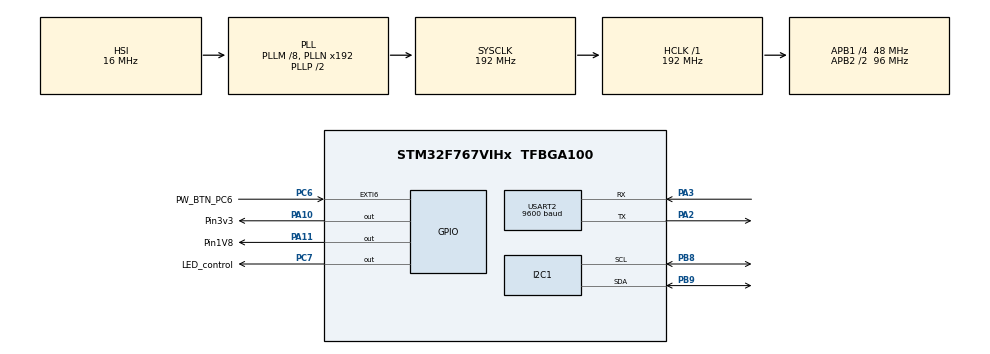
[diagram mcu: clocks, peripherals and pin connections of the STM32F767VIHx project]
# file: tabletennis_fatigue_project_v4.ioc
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CORTEX_M7.CPU_DCache=Enabled
CORTEX_M7.CPU_ICache=Enabled
CORTEX_M7.default_mode_Activation=1
I2C1.Timing=0x20303E5D
Mcu.Family=STM32F7
Mcu.Name=STM32F767VIHx
Mcu.Package=TFBGA100
NVIC.EXTI9_5_IRQn=true\:5\:0\:false\:false\:true\:true\:true\:true
NVIC.PriorityGroup=NVIC_PRIORITYGROUP_4
PA10.GPIO_Label=Pin3v3
PA10.Signal=GPIO_Output
PA11.GPIO_Label=Pin1V8
PA11.Signal=GPIO_Output
PA13.Mode=Serial_Wire
PA13.Signal=SYS_JTMS-SWDIO
PA14.Mode=Serial_Wire
PA14.Signal=SYS_JTCK-SWCLK
PA2.Mode=Asynchronous
PA2.Signal=USART2_TX
PA3.Mode=Asynchronous
PA3.Signal=USART2_RX
PB8.Mode=I2C
PB8.Signal=I2C1_SCL
PB9.Mode=I2C
PB9.Signal=I2C1_SDA
PC6.GPIO_Label=PW_BTN_PC6
PC6.GPIO_PuPd=GPIO_NOPULL
PC6.Signal=GPXTI6
PC7.GPIO_Label=LED_control
PC7.Signal=GPIO_Output
PH0/OSC_IN.Mode=HSE-External-Clock-Source
PH0/OSC_IN.Signal=RCC_OSC_IN
PH1/OSC_OUT.Mode=HSE-External-Clock-Source
PH1/OSC_OUT.Signal=RCC_OSC_OUT
ProjectManager.HeapSize=0x200
ProjectManager.StackSize=0x400
ProjectManager.TargetToolchain=MDK-ARM V5.32
RCC.AHBFreq_Value=192000000
RCC.APB1CLKDivider=RCC_HCLK_DIV4
RCC.APB1Freq_Value=48000000
RCC.APB1TimFreq_Value=96000000
RCC.APB2CLKDivider=RCC_HCLK_DIV2
RCC.APB2Freq_Value=96000000
RCC.APB2TimFreq_Value=192000000
RCC.CortexFreq_Value=192000000
RCC.HCLKFreq_Value=192000000
RCC.HSE_VALUE=8000000
RCC.HSI_VALUE=16000000
RCC.LSE_VALUE=32768
RCC.PLLM=8
RCC.PLLMUL=RCC_PLL_MUL9
RCC.PLLP=2
RCC.PLLQ=9
RCC.PRESCALERUSB=RCC_USBCLKSOURCE_PLL_DIV1_5
RCC.SYSCLKFreq_VALUE=192000000
RCC.SYSCLKSource=RCC_SYSCLKSOURCE_PLLCLK
RCC.SYSCLKSourceVirtual=RCC_SYSCLKSOURCE_PLLCLK
RCC.USBFreq_Value=42666666.666666664
RCC.VCOOutputFreq_Value=384000000
STMicroelectronics.X-CUBE-AI.10.2.0.ActivationBufferSizeList=157608
STMicroelectronics.X-CUBE-AI.10.2.0.ActivationBuffers=pool0
STMicroelectronics.X-CUBE-AI.10.2.0.ActivationNames=pool0
STMicroelectronics.X-CUBE-AI.10.2.0.ActivationSizes=AI_NETWORK_DATA_ACTIVATION_1_SIZE
STMicroelectronics.X-CUBE-AI.10.2.0.ApplicationCcDeviceJjApplication=ApplicationTemplate
STMicroelectronics.X-CUBE-AI.10.2.0.HeapSize=0x800
STMicroelectronics.X-CUBE-AI.10.2.0.InternalRamActivationBufferMaxSize=AI_NETWORK_DATA_ACTIVATIONS_SIZE
STMicroelectronics.X-CUBE-AI.10.2.0.LatestDirectoryUsed-4fb5e89c4f9c4b53edf3831b4889536b3704e1d158bd927a87bca5de9829126d=C\:\\tm
STMicroelectronics.X-CUBE-AI.10.2.0.MaximumNumberOfInputLayer=1
STMicroelectronics.X-CUBE-AI.10.2.0.MaximumNumberOfOutputLayer=1
STMicroelectronics.X-CUBE-AI.10.2.0.MaximumSizeOfInputLayer=1
STMicroelectronics.X-CUBE-AI.10.2.0.MaximumSizeOfOutputLayer=1
STMicroelectronics.X-CUBE-AI.10.2.0.ModelActualCompression-4fb5e89c4f9c4b53edf3831b4889536b3704e1d158bd927a87bca5de9829126d=0.0
STMicroelectronics.X-CUBE-AI.10.2.0.ModelCompression-4fb5e89c4f9c4b53edf3831b4889536b3704e1d158bd927a87bca5de9829126d=None
STMicroelectronics.X-CUBE-AI.10.2.0.ModelFlashOccupation-4fb5e89c4f9c4b53edf3831b4889536b3704e1d158bd927a87bca5de9829126d=564360
STMicroelectronics.X-CUBE-AI.10.2.0.ModelHashList=4fb5e89c4f9c4b53edf3831b4889536b3704e1d158bd927a87bca5de9829126d
STMicroelectronics.X-CUBE-AI.10.2.0.ModelKind-4fb5e89c4f9c4b53edf3831b4889536b3704e1d158bd927a87bca5de9829126d=KERAS
STMicroelectronics.X-CUBE-AI.10.2.0.ModelMacc-4fb5e89c4f9c4b53edf3831b4889536b3704e1d158bd927a87bca5de9829126d=22407536
STMicroelectronics.X-CUBE-AI.10.2.0.ModelName-4fb5e89c4f9c4b53edf3831b4889536b3704e1d158bd927a87bca5de9829126d=network
STMicroelectronics.X-CUBE-AI.10.2.0.ModelNameList=network
STMicroelectronics.X-CUBE-AI.10.2.0.ModelRamOccupation-4fb5e89c4f9c4b53edf3831b4889536b3704e1d158bd927a87bca5de9829126d=157608
STMicroelectronics.X-CUBE-AI.10.2.0.ModelStructureFile-4fb5e89c4f9c4b53edf3831b4889536b3704e1d158bd927a87bca5de9829126d=C\:\\tm\\CNN_LSTM.keras
STMicroelectronics.X-CUBE-AI.10.2.0.ModelType-4fb5e89c4f9c4b53edf3831b4889536b3704e1d158bd927a87bca5de9829126d=STM32Cube.AI MCU runtime
STMicroelectronics.X-CUBE-AI.10.2.0.ReadyForCodeGeneration=true
STMicroelectronics.X-CUBE-AI.10.2.0.StackSize=0x800
STMicroelectronics.X-CUBE-AI.10.2.0.WorkingBufferStartAddrList=0xFFFFFFFF
STMicroelectronics.X-CUBE-AI.10.2.0.XAaCUBEAaAICcArtificialOoIntelligenceJjCore=true
STMicroelectronics.X-CUBE-AI.10.2.0.copyWeightToRam=false
STMicroelectronics.X-CUBE-AI.10.2.0.customLayerConfigEnabled=false
STMicroelectronics.X-CUBE-AI.10.2.0.noOnnxIoTranspose=false
STMicroelectronics.X-CUBE-AI.10.2.0.useInputAllocation=true
STMicroelectronics.X-CUBE-AI.10.2.0.useOutputAllocation=true
USART2.BaudRate=9600
USART2.VirtualMode-Asynchronous=VM_ASYNC
VP_STMicroelectronics.X-CUBE-AI_VS_ArtificialOoIntelligenceJjXAaCUBEAaAI_10.2.0.Mode=ArtificialOoIntelligenceJjXAaCUBEAaAI
VP_STMicroelectronics.X-CUBE-AI_VS_DeviceJjApplication_10.2.0.Mode=DeviceJjApplication
board=custom

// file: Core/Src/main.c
/* USER CODE BEGIN Header */
/**
  ******************************************************************************
  * @file           : main.c
  * @brief          : Main program body
  ******************************************************************************
  * @attention
  *
  * Copyright (c) 2026 STMicroelectronics.
  * All rights reserved.
  *
  * This software is licensed under terms that can be found in the LICENSE file
  * in the root directory of this software component.
  * If no LICENSE file comes with this software, it is provided AS-IS.
  *
  ******************************************************************************
  */
/* USER CODE END Header */
#include "main.h"
#include "i2c.h"
#include "usart.h"
#include "gpio.h"
#include "app_x-cube-ai.h"

/* USER CODE BEGIN Includes */
#include <string.h>
#include <stdio.h>
#include <stdbool.h>
#include "app_x-cube-ai.h"
#include "ai_datatypes_defines.h"
#include "network.h"
#include "network_data.h"
/* USER CODE END Includes */

/* USER CODE BEGIN PD */
/* D1 (the PC7 status LED) is wired active-low: confirmed by testing that
   the pin explicitly held at RESET throughout STOP sleep still showed
   solid-on. Route every LED write through these two so polarity lives in
   exactly one place. */
#define LED_ON()   HAL_GPIO_WritePin(LED_control_GPIO_Port, LED_control_Pin, GPIO_PIN_RESET)
#define LED_OFF()  HAL_GPIO_WritePin(LED_control_GPIO_Port, LED_control_Pin, GPIO_PIN_SET)

#define ICM_ASSERT_ENABLE

#ifdef ICM_ASSERT_ENABLE
	//#define ICM_ASSERT(cr) if(cr){printf("Icm assert!!, file: %s, line: %d", __FILE__, __LINE__);while(1){};}
	#define ICM_ASSERT(cr) if(cr){ HAL_UART_Transmit(&huart2, (uint8_t*)"Icm Assert!\r\n", 13, 100); LED_ON();}
#else
	#define ICM_ASSERT(cr)
#endif

#define ICM20948_ADDR     0x68
#define ICM_I2C_READ(addr, pData, len) HAL_I2C_Mem_Read(&hi2c1, ICM20948_ADDR<<1 | 0x1, addr, 1, pData, len, 1000);
#define ICM_I2C_WRITE(addr, pData, len) HAL_I2C_Mem_Write(&hi2c1, ICM20948_ADDR<<1 | 0x0, addr, 1, pData, len, 1000);
#define WINDOW_FRAMES 297
#define NUM_AXES 6

/* Power control: PC6 is a plain push button (no hardware power latch), and
   the MCU/BT 3V3 rail cannot be switched off in hardware - only the 1V8
   IMU rail (PA11) can. "Power off" is therefore implemented as: cut the
   IMU rail and put the MCU into STOP mode, woken back up by a PC6 press. */
#define PWR_LONG_PRESS_MS   1500u
#define PWR_LED_BLINK_MS    120u

/* Fallback BLE-link indicator on PC7 (D5, wired straight to the HM19
   module's own STATE pin, is not connected to the MCU at all - so it
   cannot be driven or read from firmware). The HM19 module itself prints
   unsolicited status text on the same UART line: "OK+CONN" when a phone
   connects, "OK+LOST" when it disconnects. That is watched for directly
   (no timeout/heuristic needed - these are real connect/disconnect
   events). Not connected -> fast blink. Connected -> slow blink. */
#define BT_BLINK_FAST_MS      150u
#define BT_BLINK_SLOW_MS      800u
#define BT_NOTIFY_CONNECTED   "OK+CONN"
#define BT_NOTIFY_LOST        "OK+LOST"
#define BT_NOTIFY_BUF_LEN     16u
/* USER CODE END PD */

void SystemClock_Config(void);
static void MPU_Config(void);
/* USER CODE BEGIN PFP */
typedef struct{
	uint8_t currRegBank;
} IcmCb_t;

typedef struct
{
	float x;
	float y;
	float z;
	uint16_t ux;
	uint16_t uy;
	uint16_t uz;
} axises3;

axises3 my_gyro;
axises3 my_accel;

const float butterworth_biquad_coeffs[10] = {
    0.0007509f, 0.0015019f, 0.0007509f, 1.3982779f, -0.4995384f,
    1.0000000f, 2.0000000f, 1.0000000f, 1.6384440f, -0.7570968f,
};

IcmCb_t g_icmCb;
void GetIcmAccelRawData(IcmCb_t *pIcmCb, axises3* data);
void GetIcmGyroRawData(IcmCb_t *pIcmCb, axises3* data);
bool IsIcmRawDataRdy(IcmCb_t *pIcmCb);
bool IcmInit(IcmCb_t *pIcmCb);
void IcmConfig(IcmCb_t *pIcmCb);
uint8_t IcmWrite(IcmCb_t *pIcmCb ,uint8_t bank, uint8_t regAddr, uint8_t *pRegData, uint8_t length);
void HM19_SendATCommand(const char* cmd, char* response, uint16_t respLen);
void HM19_ConfigureAsSlaveWithName(void);
void Apply_ETL();

static void Led_Blink(uint8_t times, uint32_t period_ms);
static bool PowerButton_HeldFor(uint32_t ms);
static void PowerManager_SleepUntilLongPress(void);
static bool System_PowerOn(void);
static void System_PowerOff(void);
/* USER CODE END PFP */

/* USER CODE BEGIN 0 */
float raw_data_buffer[WINDOW_FRAMES][NUM_AXES];
float processed_buffer[WINDOW_FRAMES][NUM_AXES];

ai_handle network;
ai_u8 activations[AI_NETWORK_DATA_ACTIVATIONS_SIZE];
ai_buffer *ai_input;
ai_buffer *ai_output;
/* USER CODE END 0 */

int main(void)
{

  /* MPU Configuration--------------------------------------------------------*/
  MPU_Config();

  /* Enable the CPU Cache */

  /* Enable I-Cache---------------------------------------------------------*/
  SCB_EnableICache();

  /* Enable D-Cache---------------------------------------------------------*/
  SCB_EnableDCache();

  /* MCU Configuration--------------------------------------------------------*/

  /* Reset of all peripherals, Initializes the Flash interface and the Systick. */
  HAL_Init();

  /* Configure the system clock */
  SystemClock_Config();

  /* Initialize all configured peripherals */
  MX_GPIO_Init();
  MX_I2C1_Init();
  MX_USART2_UART_Init();
  //MX_X_CUBE_AI_Init();
  /* USER CODE BEGIN 2 */
	HAL_GPIO_WritePin(Pin3v3_GPIO_Port, Pin3v3_Pin, GPIO_PIN_SET);
	HM19_ConfigureAsSlaveWithName();

	ai_error err = ai_network_create(&network, AI_NETWORK_DATA_CONFIG);
    if (err.type != AI_ERROR_NONE) {
        HAL_UART_Transmit(&huart2, (uint8_t*)"AI Init FAIL!\r\n", 15, 100);
    } else {
        ai_network_params params = {
            AI_NETWORK_DATA_WEIGHTS(ai_network_data_weights_get()),
            AI_NETWORK_DATA_ACTIVATIONS(activations)
        };
        ai_network_init(network, &params);
        ai_input = ai_network_inputs_get(network, NULL);
        ai_output = ai_network_outputs_get(network, NULL);
        HAL_UART_Transmit(&huart2, (uint8_t*)"AI Init OK!\r\n", 13, 100);
    }

	/* Power-on default: a cold boot (battery/USB just connected) does NOT
	   fully power the device - it flashes once to show it has power, then
	   goes to sleep (STOP) until the user holds PC6 for a long press. */
	Led_Blink(1, PWR_LED_BLINK_MS);
	PowerManager_SleepUntilLongPress();
	System_PowerOn();
  /* USER CODE END 2 */

  /* Infinite loop */
  /* USER CODE BEGIN WHILE */
	uint8_t result = 99, wAmI = 99;
	char btMsg[64];
  bool is_streaming = false;
  uint8_t rx_byte = 0;

	uint8_t sys_state = 0;
  uint16_t frame_count = 0;

  int ai_best_class = 0;
  float ai_max_prob = 0.0f;
	bool is_collecting = false;
	uint32_t led_blink_tick = 0;
	bool bt_connected = false;
	char bt_notify_buf[BT_NOTIFY_BUF_LEN + 1] = {0};
	uint8_t bt_notify_len = 0;

  while (1)
  {
    /* USER CODE END WHILE */

  //MX_X_CUBE_AI_Process();
    /* USER CODE BEGIN 3 */
		/* Power button: a long press while running powers the device off
		   (IMU rail off + STOP sleep). System_PowerOff() blocks until the
		   device is woken and re-initialized, then returns here. */
		if (HAL_GPIO_ReadPin(PW_BTN_PC6_GPIO_Port, PW_BTN_PC6_Pin) == GPIO_PIN_SET) {
			if (PowerButton_HeldFor(PWR_LONG_PRESS_MS)) {
				System_PowerOff();
				/* discard any in-flight collection/AI state from before sleep */
				sys_state = 0;
				frame_count = 0;
				/* The module re-advertises after waking; don't assume the
				   old connection survived - wait for a fresh "OK+CONN". */
				bt_connected = false;
				bt_notify_len = 0;
				bt_notify_buf[0] = '\0';
			}
		}

		if (__HAL_UART_GET_FLAG(&huart2, UART_FLAG_ORE)) {
				__HAL_UART_CLEAR_FLAG(&huart2, UART_CLEAR_OREF);
		}

		/* Drive PC7 as the BLE-link indicator: fast blink while not
		   connected, slow blink once the module has reported "OK+CONN". */
		{
			uint32_t blink_period = bt_connected ? BT_BLINK_SLOW_MS : BT_BLINK_FAST_MS;
			if (HAL_GetTick() - led_blink_tick >= blink_period) {
				HAL_GPIO_TogglePin(LED_control_GPIO_Port, LED_control_Pin);
				led_blink_tick = HAL_GetTick();
			}
		}

		if (__HAL_UART_GET_FLAG(&huart2, UART_FLAG_RXNE)) {
			HAL_UART_Receive(&huart2, &rx_byte, 1, 0);

			/* Feed a small rolling buffer to catch the HM19 module's own
			   unsolicited "OK+CONN" / "OK+LOST" notifications, wherever
			   they land relative to byte boundaries. */
			if (bt_notify_len >= BT_NOTIFY_BUF_LEN) {
				memmove(bt_notify_buf, bt_notify_buf + 1, BT_NOTIFY_BUF_LEN - 1);
				bt_notify_len = BT_NOTIFY_BUF_LEN - 1;
			}
			bt_notify_buf[bt_notify_len++] = (char)rx_byte;
			bt_notify_buf[bt_notify_len] = '\0';

			if (strstr(bt_notify_buf, BT_NOTIFY_CONNECTED) != NULL) {
				bt_connected = true;
				bt_notify_len = 0;
				bt_notify_buf[0] = '\0';
			} else if (strstr(bt_notify_buf, BT_NOTIFY_LOST) != NULL) {
				bt_connected = false;
				bt_notify_len = 0;
				bt_notify_buf[0] = '\0';
			}

			if (rx_byte == '0') {
				HAL_UART_Transmit(&huart2, (uint8_t*)"READY\r\n", 7, 100);
			}

			if (rx_byte == '1' && sys_state == 0) {
				sys_state = 1;
				frame_count = 0;
                HAL_UART_Transmit(&huart2, (uint8_t*)"MSG: Start Collecting...\r\n", 26, 100);
			}
			else if (rx_byte == '2') {

                if (sys_state == 2) {
                    sys_state = 0;

                    float *out_data = (float *)ai_output[0].data;

                    sprintf(btMsg, "RESULT:stage_%d|%.4f,%.4f,%.4f\r\n",
                            ai_best_class, out_data[0], out_data[1], out_data[2]);

                    HAL_UART_Transmit(&huart2, (uint8_t*)btMsg, strlen(btMsg), 100);

                    HAL_UART_Transmit(&huart2, (uint8_t*)"MSG: Dumping Processed Data...\r\n", 32, 100);
                    for (int i = 0; i < WINDOW_FRAMES; i++) {
                        sprintf(btMsg, "D:%.2f,%.2f,%.2f,%.2f,%.2f,%.2f\r\n",
                                processed_buffer[i][0], processed_buffer[i][1], processed_buffer[i][2],
                                processed_buffer[i][3], processed_buffer[i][4], processed_buffer[i][5]);
                        HAL_UART_Transmit(&huart2, (uint8_t*)btMsg, strlen(btMsg), 100);
                        HAL_Delay(5);
                    }
                    HAL_UART_Transmit(&huart2, (uint8_t*)"MSG: Dump Done.\r\n", 17, 100);
                }
                else {
                    sprintf(btMsg, "Wait! Im not ready. State: %d\r\n", sys_state);
                    HAL_UART_Transmit(&huart2, (uint8_t*)btMsg, strlen(btMsg), 100);
                }
			}
		}

		if (IsIcmRawDataRdy(&g_icmCb)) {

			GetIcmAccelRawData(&g_icmCb, &my_accel);
			GetIcmGyroRawData(&g_icmCb, &my_gyro);

			if (sys_state == 1) {
                raw_data_buffer[frame_count][0] = (float)my_accel.x;
                raw_data_buffer[frame_count][1] = (float)my_accel.y;
                raw_data_buffer[frame_count][2] = (float)my_accel.z;
                raw_data_buffer[frame_count][3] = (float)my_gyro.x;
                raw_data_buffer[frame_count][4] = (float)my_gyro.y;
                raw_data_buffer[frame_count][5] = (float)my_gyro.z;

                frame_count++;

				if (frame_count >= WINDOW_FRAMES) {

                    HAL_UART_Transmit(&huart2, (uint8_t*)"MSG: Processing ETL & AI...\r\n", 29, 100);

					Apply_ETL();

					memcpy(ai_input[0].data, processed_buffer, sizeof(float) * WINDOW_FRAMES * NUM_AXES);

					ai_i32 n_batch;
                    n_batch = ai_network_run(network, &ai_input[0], &ai_output[0]);

					if (n_batch > 0) {
                        float *out_data = (float *)ai_output[0].data;
                        ai_max_prob = out_data[0];
                        ai_best_class = 0;

                        for (int c = 1; c < 3; c++) {
                            if (out_data[c] > ai_max_prob) {
                                ai_max_prob = out_data[c];
                                ai_best_class = c + 1;
                            }
                        }

													sys_state = 2;
													HAL_UART_Transmit(&huart2, (uint8_t*)"TT_OK\r\n", 7, 100);

                    } else {
                        HAL_UART_Transmit(&huart2, (uint8_t*)"AI Run Error!\r\n", 15, 100);
												sys_state = 0;
                    }
                }
            }
		}

  }
  /* USER CODE END 3 */
}

void SystemClock_Config(void)
{
  RCC_OscInitTypeDef RCC_OscInitStruct = {0};
  RCC_ClkInitTypeDef RCC_ClkInitStruct = {0};

  /** Configure the main internal regulator output voltage
  */
  __HAL_RCC_PWR_CLK_ENABLE();
  __HAL_PWR_VOLTAGESCALING_CONFIG(PWR_REGULATOR_VOLTAGE_SCALE1);

  /** Initializes the RCC Oscillators according to the specified parameters
  * in the RCC_OscInitTypeDef structure.
  */
  RCC_OscInitStruct.OscillatorType = RCC_OSCILLATORTYPE_HSI;
  RCC_OscInitStruct.HSIState = RCC_HSI_ON;
  RCC_OscInitStruct.HSICalibrationValue = RCC_HSICALIBRATION_DEFAULT;
  RCC_OscInitStruct.PLL.PLLState = RCC_PLL_ON;
  RCC_OscInitStruct.PLL.PLLSource = RCC_PLLSOURCE_HSI;
  RCC_OscInitStruct.PLL.PLLM = 8;
  RCC_OscInitStruct.PLL.PLLN = 192;
  RCC_OscInitStruct.PLL.PLLP = 2;
  RCC_OscInitStruct.PLL.PLLQ = 9;
  RCC_OscInitStruct.PLL.PLLR = 2;
  if (HAL_RCC_OscConfig(&RCC_OscInitStruct) != HAL_OK)
  {
    Error_Handler();
  }

  /** Activate the Over-Drive mode
  */
  if (HAL_PWREx_EnableOverDrive() != HAL_OK)
  {
    Error_Handler();
  }

  /** Initializes the CPU, AHB and APB buses clocks
  */
  RCC_ClkInitStruct.ClockType = RCC_CLOCKTYPE_HCLK|RCC_CLOCKTYPE_SYSCLK
                              |RCC_CLOCKTYPE_PCLK1|RCC_CLOCKTYPE_PCLK2;
  RCC_ClkInitStruct.SYSCLKSource = RCC_SYSCLKSOURCE_PLLCLK;
  RCC_ClkInitStruct.AHBCLKDivider = RCC_SYSCLK_DIV1;
  RCC_ClkInitStruct.APB1CLKDivider = RCC_HCLK_DIV4;
  RCC_ClkInitStruct.APB2CLKDivider = RCC_HCLK_DIV2;

  if (HAL_RCC_ClockConfig(&RCC_ClkInitStruct, FLASH_LATENCY_6) != HAL_OK)
  {
    Error_Handler();
  }
}

/* USER CODE BEGIN 4 */
void HM19_SendATCommand(const char* cmd, char* response, uint16_t respLen)
{
  memset(response, 0, respLen);

  HAL_UART_Transmit(&huart2, (uint8_t*)cmd, strlen(cmd), HAL_MAX_DELAY);

  HAL_UART_Receive(&huart2, (uint8_t*)response, respLen - 1, 200);
}

void HM19_ConfigureAsSlaveWithName()
{
  char response[64];

  HM19_SendATCommand("AT+NAMEBT-TEST_746", response, sizeof(response));
  HAL_Delay(500);

  HM19_SendATCommand("AT+RESET", response, sizeof(response));
  HAL_Delay(1000);
}

static void Led_Blink(uint8_t times, uint32_t period_ms)
{
	for (uint8_t i = 0; i < times; i++) {
		LED_ON();
		HAL_Delay(period_ms);
		LED_OFF();
		HAL_Delay(period_ms);
	}
}

/* Blocks while PC6 is held down. Returns true once it has been held
   continuously for at least `ms`, or false if released earlier. */
static bool PowerButton_HeldFor(uint32_t ms)
{
	uint32_t start = HAL_GetTick();
	while (HAL_GPIO_ReadPin(PW_BTN_PC6_GPIO_Port, PW_BTN_PC6_Pin) == GPIO_PIN_SET) {
		if (HAL_GetTick() - start >= ms) {
			return true;
		}
	}
	return false;
}

/* Enters STOP mode and stays there - waking briefly on every PC6 press -
   until a press is held long enough to count as a deliberate long press.
   Short/accidental presses just put the MCU straight back to sleep. */
static void PowerManager_SleepUntilLongPress(void)
{
	for (;;) {
		/* Wait for release before sleeping so a still-held button doesn't
		   leave the EXTI pending flag set (which would wake immediately). */
		while (HAL_GPIO_ReadPin(PW_BTN_PC6_GPIO_Port, PW_BTN_PC6_Pin) == GPIO_PIN_SET) { }
		__HAL_GPIO_EXTI_CLEAR_IT(PW_BTN_PC6_Pin);

		/* Belt-and-braces: guarantee the LED is dark for the sleep itself,
		   regardless of whatever state earlier code left it in. */
		LED_OFF();

		/* Stop the 1ms SysTick interrupt before sleeping - if it were still
		   enabled, a tick pending right as WFI executes can abort/shorten
		   the sleep (classic STOP-mode gotcha), so this is disabled for the
		   duration and only re-enabled once the clock is back to full speed. */
		HAL_SuspendTick();
		HAL_PWR_EnterSTOPMode(PWR_LOWPOWERREGULATOR_ON, PWR_STOPENTRY_WFI);

		/* --- execution resumes here once PC6 wakes the MCU --- */
		SystemClock_Config(); /* STOP mode falls back to HSI; restore full speed */
		HAL_ResumeTick();

		if (PowerButton_HeldFor(PWR_LONG_PRESS_MS)) {
			return;
		}
		/* Too short to count - treat as noise/accidental touch and re-sleep. */
	}
}

/* Powers the IMU rail back on and re-initializes the sensor (it lost power
   while asleep). Returns whether the IMU responded. */
static bool System_PowerOn(void)
{
	HAL_GPIO_WritePin(Pin1V8_GPIO_Port, Pin1V8_Pin, GPIO_PIN_SET);
	Led_Blink(2, PWR_LED_BLINK_MS);

	bool imuReady = IcmInit(&g_icmCb);
	if (imuReady) {
		IcmConfig(&g_icmCb);
		HAL_UART_Transmit(&huart2, (uint8_t*)"IMU Init OK!\r\n", 14, 100);
	} else {
		HAL_UART_Transmit(&huart2, (uint8_t*)"IMU Init FAIL!\r\n", 16, 100);
	}

	LED_OFF();
	return imuReady;
}

/* Cuts IMU power and puts the MCU to sleep. Note: the MCU/BT 3V3 rail
   cannot be switched off in hardware, so this is a low-power sleep, not a
   true full power-off. Blocks until woken by a long press, then leaves
   the device fully powered back on before returning. */
static void System_PowerOff(void)
{
	HAL_UART_Transmit(&huart2, (uint8_t*)"MSG: Powering off...\r\n", 23, 100);
	Led_Blink(3, PWR_LED_BLINK_MS);

	HAL_GPIO_WritePin(Pin1V8_GPIO_Port, Pin1V8_Pin, GPIO_PIN_RESET);
	LED_OFF();

	PowerManager_SleepUntilLongPress();

	System_PowerOn();
}

uint8_t IcmRead(IcmCb_t *pIcmCb ,uint8_t bank, uint8_t regAddr, uint8_t *pRegData, uint8_t length){
	uint8_t result = 0;

	if(pIcmCb->currRegBank != bank) {
		uint8_t bankData = bank << 4;
		result |= ICM_I2C_WRITE(0x7F, &bankData, 1);
		pIcmCb->currRegBank = bank;
		//HAL_Delay(10);
	}

	result |= ICM_I2C_READ(regAddr, pRegData, length);
	ICM_ASSERT(result != 0x00);
	//HAL_Delay(10);
	return result;
}

uint8_t IcmWrite(IcmCb_t *pIcmCb ,uint8_t bank, uint8_t regAddr, uint8_t *pRegData, uint8_t length){
	uint8_t result = 0;

	if(pIcmCb->currRegBank != bank) {
		uint8_t bankData = bank << 4;
		result |= ICM_I2C_WRITE(0x7F, &bankData, 1);
		pIcmCb->currRegBank = bank;
		//HAL_Delay(10);
	}
	result |= ICM_I2C_WRITE(regAddr, pRegData, length);
	ICM_ASSERT(result != 0x00);
	//HAL_Delay(10);
	return result;
}

void IcmConfig(IcmCb_t *pIcmCb){
	uint8_t raw_int_en = 0x01;

	IcmWrite(pIcmCb, 2, 0x14, (uint8_t []){0x19}, 1);

	IcmWrite(pIcmCb, 2, 0x01, (uint8_t []){0x11}, 1);

	IcmWrite(pIcmCb, 2, 0x00, (uint8_t []){0x0C}, 1); // GYRO_DIV
	IcmWrite(pIcmCb, 2, 0x10, (uint8_t []){0x00}, 1); // ACCEL_DIV_H
	IcmWrite(pIcmCb, 2, 0x11, (uint8_t []){0x0C}, 1); // ACCEL_DIV_L

	IcmWrite(pIcmCb, 0, 0x11, &raw_int_en, 1);
}

bool IcmInit(IcmCb_t *pIcmCb){
	uint8_t result = 99, wAmI = 99;
	uint8_t retryCount = 0;
	pIcmCb->currRegBank = 0;

	while(retryCount < 5) {
		result = ICM_I2C_READ(0x00, &wAmI, 1);
		if(result == 0x00 && wAmI == 0xEA) {
			break;
		}
		retryCount++;
		HAL_Delay(100);
	}

	if(retryCount >= 5) {
		return false;
	}

	ICM_I2C_WRITE(0x06, (uint8_t[]){0x81}, 1); // Reset
	HAL_Delay(200);

	ICM_I2C_WRITE(0x06, (uint8_t[]){0x01}, 1); // Wake up
	HAL_Delay(50);

	return true;
}

bool IsIcmRawDataRdy(IcmCb_t *pIcmCb){
	uint8_t status;
	IcmRead(pIcmCb, 0, 0x1A, &status, 1);
	return (status & 0x01)?true:false;
}

void GetIcmGyroRawData(IcmCb_t *pIcmCb, axises3* data){

	uint16_t gx, gy ,gz;

	uint8_t gyroDataArray[6];

	IcmRead(pIcmCb, 0, 0x33, gyroDataArray, 6);

	gx = gyroDataArray[0] << 8 | gyroDataArray[1];
	gy = gyroDataArray[2] << 8 | gyroDataArray[3];
	gz = gyroDataArray[4] << 8 | gyroDataArray[5];
	data->x = (int16_t)(gyroDataArray[0] << 8 | gyroDataArray[1]);
	data->y = (int16_t)(gyroDataArray[2] << 8 | gyroDataArray[3]);
	data->z = (int16_t)(gyroDataArray[4] << 8 | gyroDataArray[5]);
	data->ux = (int16_t)(gyroDataArray[0] << 8 | gyroDataArray[1]);
	data->uy = (int16_t)(gyroDataArray[2] << 8 | gyroDataArray[3]);
	data->uz = (int16_t)(gyroDataArray[4] << 8 | gyroDataArray[5]);

//	char debugMsg[100];
//	sprintf(debugMsg, "GX: %-5d, GY: %-5d, GZ: %-5d\r\n", (int16_t)(gx), (int16_t)(gy), (int16_t)(gz));
//	HAL_UART_Transmit(&huart2, (uint8_t*)debugMsg, strlen(debugMsg), HAL_MAX_DELAY);

	//printf("GX: %-5d, GY: %-5d, GZ: %-5d\n", (int16_t)(gx), (int16_t)gy, (int16_t)gz);
}

void GetIcmAccelRawData(IcmCb_t *pIcmCb, axises3* data){
	uint16_t ax, ay ,az;

	uint8_t accelDataArray[6];

	IcmRead(pIcmCb, 0, 0x2D, accelDataArray, 6);

	ax = accelDataArray[0] << 8 | accelDataArray[1];
	ay = accelDataArray[2] << 8 | accelDataArray[3];
	az = accelDataArray[4] << 8 | accelDataArray[5];
	data->x = (int16_t)(accelDataArray[0] << 8 | accelDataArray[1]);
	data->y = (int16_t)(accelDataArray[2] << 8 | accelDataArray[3]);
	data->z = (int16_t)(accelDataArray[4] << 8 | accelDataArray[5]);
	data->ux = (int16_t)(accelDataArray[0] << 8 | accelDataArray[1]);
	data->uy = (int16_t)(accelDataArray[2] << 8 | accelDataArray[3]);
	data->uz = (int16_t)(accelDataArray[4] << 8 | accelDataArray[5]);

//	char debugMsg[100];
//	sprintf(debugMsg, "AX: %-5d, AY: %-5d, AZ: %-5d\r\n", (int16_t)(ax), (int16_t)(ay), (int16_t)(az));
//	HAL_UART_Transmit(&huart2, (uint8_t*)debugMsg, strlen(debugMsg), HAL_MAX_DELAY);

	//printf("AX: %-5d, AY: %-5d, AZ: %-5d\n", (int16_t)(ax), (int16_t)ay, (int16_t)az);
}

float temp[WINDOW_FRAMES];

void Apply_ETL() {
    for (int axis = 0; axis < NUM_AXES; axis++) {
        float init_val = raw_data_buffer[0][axis];
        float x1 = init_val, x2 = init_val;
        float y1 = init_val, y2 = init_val;

        float px1 = init_val, px2 = init_val;
        float py1 = init_val, py2 = init_val;

        for (int i = 0; i < WINDOW_FRAMES; i++) {
            float x = raw_data_buffer[i][axis];
            float y = butterworth_biquad_coeffs[0]*x + butterworth_biquad_coeffs[1]*x1 + butterworth_biquad_coeffs[2]*x2 + butterworth_biquad_coeffs[3]*y1 + butterworth_biquad_coeffs[4]*y2;
            x2 = x1; x1 = x;
            y2 = y1; y1 = y;

            float out = butterworth_biquad_coeffs[5]*y + butterworth_biquad_coeffs[6]*px1 + butterworth_biquad_coeffs[7]*px2 + butterworth_biquad_coeffs[8]*py1 + butterworth_biquad_coeffs[9]*py2;
            px2 = px1; px1 = y;
            py2 = py1; py1 = out;

            processed_buffer[i][axis] = out;
        }
    }

    for (int axis = 0; axis < NUM_AXES; axis++) {
        for (int i = 0; i < WINDOW_FRAMES; i++) {
            float sum = 0; int count = 0;
            for(int j = i - 2; j <= i + 2; j++) {
                if(j >= 0 && j < WINDOW_FRAMES) {
                    sum += processed_buffer[j][axis];
                    count++;
                }
            }
            temp[i] = sum / count;
        }
        for (int i = 0; i < WINDOW_FRAMES; i++) {
            processed_buffer[i][axis] = temp[i];
        }
    }
}
/* USER CODE END 4 */

 /* MPU Configuration */

void MPU_Config(void)
{
  MPU_Region_InitTypeDef MPU_InitStruct = {0};

  /* Disables the MPU */
  HAL_MPU_Disable();

  /** Initializes and configures the Region and the memory to be protected
  */
  MPU_InitStruct.Enable = MPU_REGION_ENABLE;
  MPU_InitStruct.Number = MPU_REGION_NUMBER0;
  MPU_InitStruct.BaseAddress = 0x0;
  MPU_InitStruct.Size = MPU_REGION_SIZE_4GB;
  MPU_InitStruct.SubRegionDisable = 0x87;
  MPU_InitStruct.TypeExtField = MPU_TEX_LEVEL0;
  MPU_InitStruct.AccessPermission = MPU_REGION_NO_ACCESS;
  MPU_InitStruct.DisableExec = MPU_INSTRUCTION_ACCESS_DISABLE;
  MPU_InitStruct.IsShareable = MPU_ACCESS_SHAREABLE;
  MPU_InitStruct.IsCacheable = MPU_ACCESS_NOT_CACHEABLE;
  MPU_InitStruct.IsBufferable = MPU_ACCESS_NOT_BUFFERABLE;

  HAL_MPU_ConfigRegion(&MPU_InitStruct);
  /* Enables the MPU */
  HAL_MPU_Enable(MPU_PRIVILEGED_DEFAULT);

}

void Error_Handler(void)
{
  __disable_irq();
  while (1)
  {
  }
}
